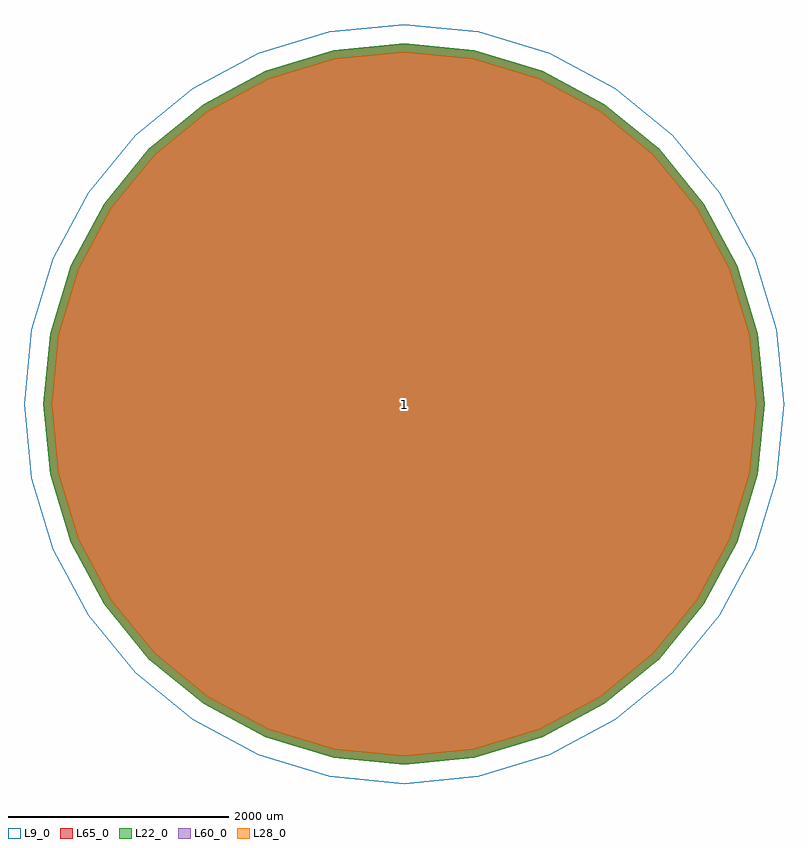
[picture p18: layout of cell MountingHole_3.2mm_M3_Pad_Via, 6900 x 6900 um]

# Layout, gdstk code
import gdstk
lib = gdstk.Library(unit=1e-6, precision=1e-09)
def P(c, l, *ps):  # polygons
    for p in ps: c.add(gdstk.Polygon(p, *l))
L9_0 = (9, 0)
L22_0 = (22, 0)
L28_0 = (28, 0)
L60_0 = (60, 0)
L65_0 = (65, 0)

mountinghole_3_2mm_m3_pa = lib.new_cell('MountingHole_3.2mm_M3_Pad_Via')
P(mountinghole_3_2mm_m3_pa, L9_0, [(3450,0),(3383.709,673.062),(3187.384,1320.258),(2868.57,1916.717),(2439.518,2439.518),(1916.717,2868.57),(1320.258,3187.384),(673.062,3383.709),(0,3450),(-673.062,3383.709),(-1320.258,3187.384),(-1916.717,2868.57),(-2439.518,2439.518),(-2868.57,1916.717),(-3187.384,1320.258),(-3383.709,673.062),(-3450,0),(-3383.709,-673.062),(-3187.384,-1320.258),(-2868.57,-1916.717),(-2439.518,-2439.518),(-1916.717,-2868.57),(-1320.258,-3187.384),(-673.062,-3383.709),(0,-3450),(673.062,-3383.709),(1320.258,-3187.384),(1916.717,-2868.57),(2439.518,-2439.518),(2868.57,-1916.717),(3187.384,-1320.258),(3383.709,-673.062)],
  [(3200,0),(3138.513,624.289),(2956.415,1224.587),(2660.703,1777.825),(2262.742,2262.742),(1777.825,2660.703),(1224.587,2956.415),(624.289,3138.513),(0,3200),(-624.289,3138.513),(-1224.587,2956.415),(-1777.825,2660.703),(-2262.742,2262.742),(-2660.703,1777.825),(-2956.415,1224.587),(-3138.513,624.289),(-3200,0),(-3138.513,-624.289),(-2956.415,-1224.587),(-2660.703,-1777.825),(-2262.742,-2262.742),(-1777.825,-2660.703),(-1224.587,-2956.415),(-624.289,-3138.513),(0,-3200),(624.289,-3138.513),(1224.587,-2956.415),(1777.825,-2660.703),(2262.742,-2262.742),(2660.703,-1777.825),(2956.415,-1224.587),(3138.513,-624.289)])
P(mountinghole_3_2mm_m3_pa, L22_0, [(2072.056,1697.056),(2064.85,1770.215),(2043.511,1840.562),(2008.857,1905.395),(1962.221,1962.221),(1905.395,2008.857),(1840.562,2043.511),(1770.215,2064.85),(1697.056,2072.056),(1623.897,2064.85),(1553.55,2043.511),(1488.717,2008.857),(1431.891,1962.221),(1385.255,1905.395),(1350.601,1840.562),(1329.262,1770.215),(1322.056,1697.056),(1329.262,1623.897),(1350.601,1553.55),(1385.255,1488.717),(1431.891,1431.891),(1488.717,1385.255),(1553.55,1350.601),(1623.897,1329.262),(1697.056,1322.056),(1770.215,1329.262),(1840.562,1350.601),(1905.395,1385.255),(1962.221,1431.891),(2008.857,1488.717),(2043.511,1553.55),(2064.85,1623.897)],
  [(375,2400),(367.794,2473.159),(346.455,2543.506),(311.801,2608.339),(265.165,2665.165),(208.339,2711.801),(143.506,2746.455),(73.159,2767.794),(0,2775),(-73.159,2767.794),(-143.506,2746.455),(-208.339,2711.801),(-265.165,2665.165),(-311.801,2608.339),(-346.455,2543.506),(-367.794,2473.159),(-375,2400),(-367.794,2326.841),(-346.455,2256.494),(-311.801,2191.661),(-265.165,2134.835),(-208.339,2088.199),(-143.506,2053.545),(-73.159,2032.206),(0,2025),(73.159,2032.206),(143.506,2053.545),(208.339,2088.199),(265.165,2134.835),(311.801,2191.661),(346.455,2256.494),(367.794,2326.841)],
  [(-1322.056,1697.056),(-1329.262,1770.215),(-1350.601,1840.562),(-1385.255,1905.395),(-1431.891,1962.221),(-1488.717,2008.857),(-1553.55,2043.511),(-1623.897,2064.85),(-1697.056,2072.056),(-1770.215,2064.85),(-1840.562,2043.511),(-1905.395,2008.857),(-1962.221,1962.221),(-2008.857,1905.395),(-2043.511,1840.562),(-2064.85,1770.215),(-2072.056,1697.056),(-2064.85,1623.897),(-2043.511,1553.55),(-2008.857,1488.717),(-1962.221,1431.891),(-1905.395,1385.255),(-1840.562,1350.601),(-1770.215,1329.262),(-1697.056,1322.056),(-1623.897,1329.262),(-1553.55,1350.601),(-1488.717,1385.255),(-1431.891,1431.891),(-1385.255,1488.717),(-1350.601,1553.55),(-1329.262,1623.897)],
  [(-2025,0),(-2032.206,73.159),(-2053.545,143.506),(-2088.199,208.339),(-2134.835,265.165),(-2191.661,311.801),(-2256.494,346.455),(-2326.841,367.794),(-2400,375),(-2473.159,367.794),(-2543.506,346.455),(-2608.339,311.801),(-2665.165,265.165),(-2711.801,208.339),(-2746.455,143.506),(-2767.794,73.159),(-2775,0),(-2767.794,-73.159),(-2746.455,-143.506),(-2711.801,-208.339),(-2665.165,-265.165),(-2608.339,-311.801),(-2543.506,-346.455),(-2473.159,-367.794),(-2400,-375),(-2326.841,-367.794),(-2256.494,-346.455),(-2191.661,-311.801),(-2134.835,-265.165),(-2088.199,-208.339),(-2053.545,-143.506),(-2032.206,-73.159)],
  [(-1322.056,-1697.056),(-1329.262,-1623.897),(-1350.601,-1553.55),(-1385.255,-1488.717),(-1431.891,-1431.891),(-1488.717,-1385.255),(-1553.55,-1350.601),(-1623.897,-1329.262),(-1697.056,-1322.056),(-1770.215,-1329.262),(-1840.562,-1350.601),(-1905.395,-1385.255),(-1962.221,-1431.891),(-2008.857,-1488.717),(-2043.511,-1553.55),(-2064.85,-1623.897),(-2072.056,-1697.056),(-2064.85,-1770.215),(-2043.511,-1840.562),(-2008.857,-1905.395),(-1962.221,-1962.221),(-1905.395,-2008.857),(-1840.562,-2043.511),(-1770.215,-2064.85),(-1697.056,-2072.056),(-1623.897,-2064.85),(-1553.55,-2043.511),(-1488.717,-2008.857),(-1431.891,-1962.221),(-1385.255,-1905.395),(-1350.601,-1840.562),(-1329.262,-1770.215)],
  [(375,-2400),(367.794,-2326.841),(346.455,-2256.494),(311.801,-2191.661),(265.165,-2134.835),(208.339,-2088.199),(143.506,-2053.545),(73.159,-2032.206),(0,-2025),(-73.159,-2032.206),(-143.506,-2053.545),(-208.339,-2088.199),(-265.165,-2134.835),(-311.801,-2191.661),(-346.455,-2256.494),(-367.794,-2326.841),(-375,-2400),(-367.794,-2473.159),(-346.455,-2543.506),(-311.801,-2608.339),(-265.165,-2665.165),(-208.339,-2711.801),(-143.506,-2746.455),(-73.159,-2767.794),(0,-2775),(73.159,-2767.794),(143.506,-2746.455),(208.339,-2711.801),(265.165,-2665.165),(311.801,-2608.339),(346.455,-2543.506),(367.794,-2473.159)],
  [(2072.056,-1697.056),(2064.85,-1623.897),(2043.511,-1553.55),(2008.857,-1488.717),(1962.221,-1431.891),(1905.395,-1385.255),(1840.562,-1350.601),(1770.215,-1329.262),(1697.056,-1322.056),(1623.897,-1329.262),(1553.55,-1350.601),(1488.717,-1385.255),(1431.891,-1431.891),(1385.255,-1488.717),(1350.601,-1553.55),(1329.262,-1623.897),(1322.056,-1697.056),(1329.262,-1770.215),(1350.601,-1840.562),(1385.255,-1905.395),(1431.891,-1962.221),(1488.717,-2008.857),(1553.55,-2043.511),(1623.897,-2064.85),(1697.056,-2072.056),(1770.215,-2064.85),(1840.562,-2043.511),(1905.395,-2008.857),(1962.221,-1962.221),(2008.857,-1905.395),(2043.511,-1840.562),(2064.85,-1770.215)],
  [(2775,0),(2767.794,73.159),(2746.455,143.506),(2711.801,208.339),(2665.165,265.165),(2608.339,311.801),(2543.506,346.455),(2473.159,367.794),(2400,375),(2326.841,367.794),(2256.494,346.455),(2191.661,311.801),(2134.835,265.165),(2088.199,208.339),(2053.545,143.506),(2032.206,73.159),(2025,0),(2032.206,-73.159),(2053.545,-143.506),(2088.199,-208.339),(2134.835,-265.165),(2191.661,-311.801),(2256.494,-346.455),(2326.841,-367.794),(2400,-375),(2473.159,-367.794),(2543.506,-346.455),(2608.339,-311.801),(2665.165,-265.165),(2711.801,-208.339),(2746.455,-143.506),(2767.794,-73.159)],
  [(3275,0),(3212.072,638.921),(3025.705,1253.288),(2723.063,1819.493),(2315.775,2315.775),(1819.493,2723.063),(1253.288,3025.705),(638.921,3212.072),(0,3275),(-638.921,3212.072),(-1253.288,3025.705),(-1819.493,2723.063),(-2315.775,2315.775),(-2723.063,1819.493),(-3025.705,1253.288),(-3212.072,638.921),(-3275,0),(-3212.072,-638.921),(-3025.705,-1253.288),(-2723.063,-1819.493),(-2315.775,-2315.775),(-1819.493,-2723.063),(-1253.288,-3025.705),(-638.921,-3212.072),(0,-3275),(638.921,-3212.072),(1253.288,-3025.705),(1819.493,-2723.063),(2315.775,-2315.775),(2723.063,-1819.493),(3025.705,-1253.288),(3212.072,-638.921)])
P(mountinghole_3_2mm_m3_pa, L28_0, [(1997.056,1697.056),(1991.292,1755.583),(1974.22,1811.861),(1946.497,1863.727),(1909.188,1909.188),(1863.727,1946.497),(1811.861,1974.22),(1755.583,1991.292),(1697.056,1997.056),(1638.529,1991.292),(1582.251,1974.22),(1530.385,1946.497),(1484.924,1909.188),(1447.615,1863.727),(1419.892,1811.861),(1402.82,1755.583),(1397.056,1697.056),(1402.82,1638.529),(1419.892,1582.251),(1447.615,1530.385),(1484.924,1484.924),(1530.385,1447.615),(1582.251,1419.892),(1638.529,1402.82),(1697.056,1397.056),(1755.583,1402.82),(1811.861,1419.892),(1863.727,1447.615),(1909.188,1484.924),(1946.497,1530.385),(1974.22,1582.251),(1991.292,1638.529)],
  [(300,2400),(294.236,2458.527),(277.164,2514.805),(249.441,2566.671),(212.132,2612.132),(166.671,2649.441),(114.805,2677.164),(58.527,2694.236),(0,2700),(-58.527,2694.236),(-114.805,2677.164),(-166.671,2649.441),(-212.132,2612.132),(-249.441,2566.671),(-277.164,2514.805),(-294.236,2458.527),(-300,2400),(-294.236,2341.473),(-277.164,2285.195),(-249.441,2233.329),(-212.132,2187.868),(-166.671,2150.559),(-114.805,2122.836),(-58.527,2105.764),(0,2100),(58.527,2105.764),(114.805,2122.836),(166.671,2150.559),(212.132,2187.868),(249.441,2233.329),(277.164,2285.195),(294.236,2341.473)],
  [(-1397.056,1697.056),(-1402.82,1755.583),(-1419.892,1811.861),(-1447.615,1863.727),(-1484.924,1909.188),(-1530.385,1946.497),(-1582.251,1974.22),(-1638.529,1991.292),(-1697.056,1997.056),(-1755.583,1991.292),(-1811.861,1974.22),(-1863.727,1946.497),(-1909.188,1909.188),(-1946.497,1863.727),(-1974.22,1811.861),(-1991.292,1755.583),(-1997.056,1697.056),(-1991.292,1638.529),(-1974.22,1582.251),(-1946.497,1530.385),(-1909.188,1484.924),(-1863.727,1447.615),(-1811.861,1419.892),(-1755.583,1402.82),(-1697.056,1397.056),(-1638.529,1402.82),(-1582.251,1419.892),(-1530.385,1447.615),(-1484.924,1484.924),(-1447.615,1530.385),(-1419.892,1582.251),(-1402.82,1638.529)],
  [(-2100,0),(-2105.764,58.527),(-2122.836,114.805),(-2150.559,166.671),(-2187.868,212.132),(-2233.329,249.441),(-2285.195,277.164),(-2341.473,294.236),(-2400,300),(-2458.527,294.236),(-2514.805,277.164),(-2566.671,249.441),(-2612.132,212.132),(-2649.441,166.671),(-2677.164,114.805),(-2694.236,58.527),(-2700,0),(-2694.236,-58.527),(-2677.164,-114.805),(-2649.441,-166.671),(-2612.132,-212.132),(-2566.671,-249.441),(-2514.805,-277.164),(-2458.527,-294.236),(-2400,-300),(-2341.473,-294.236),(-2285.195,-277.164),(-2233.329,-249.441),(-2187.868,-212.132),(-2150.559,-166.671),(-2122.836,-114.805),(-2105.764,-58.527)],
  [(-1397.056,-1697.056),(-1402.82,-1638.529),(-1419.892,-1582.251),(-1447.615,-1530.385),(-1484.924,-1484.924),(-1530.385,-1447.615),(-1582.251,-1419.892),(-1638.529,-1402.82),(-1697.056,-1397.056),(-1755.583,-1402.82),(-1811.861,-1419.892),(-1863.727,-1447.615),(-1909.188,-1484.924),(-1946.497,-1530.385),(-1974.22,-1582.251),(-1991.292,-1638.529),(-1997.056,-1697.056),(-1991.292,-1755.583),(-1974.22,-1811.861),(-1946.497,-1863.727),(-1909.188,-1909.188),(-1863.727,-1946.497),(-1811.861,-1974.22),(-1755.583,-1991.292),(-1697.056,-1997.056),(-1638.529,-1991.292),(-1582.251,-1974.22),(-1530.385,-1946.497),(-1484.924,-1909.188),(-1447.615,-1863.727),(-1419.892,-1811.861),(-1402.82,-1755.583)],
  [(300,-2400),(294.236,-2341.473),(277.164,-2285.195),(249.441,-2233.329),(212.132,-2187.868),(166.671,-2150.559),(114.805,-2122.836),(58.527,-2105.764),(0,-2100),(-58.527,-2105.764),(-114.805,-2122.836),(-166.671,-2150.559),(-212.132,-2187.868),(-249.441,-2233.329),(-277.164,-2285.195),(-294.236,-2341.473),(-300,-2400),(-294.236,-2458.527),(-277.164,-2514.805),(-249.441,-2566.671),(-212.132,-2612.132),(-166.671,-2649.441),(-114.805,-2677.164),(-58.527,-2694.236),(0,-2700),(58.527,-2694.236),(114.805,-2677.164),(166.671,-2649.441),(212.132,-2612.132),(249.441,-2566.671),(277.164,-2514.805),(294.236,-2458.527)],
  [(1997.056,-1697.056),(1991.292,-1638.529),(1974.22,-1582.251),(1946.497,-1530.385),(1909.188,-1484.924),(1863.727,-1447.615),(1811.861,-1419.892),(1755.583,-1402.82),(1697.056,-1397.056),(1638.529,-1402.82),(1582.251,-1419.892),(1530.385,-1447.615),(1484.924,-1484.924),(1447.615,-1530.385),(1419.892,-1582.251),(1402.82,-1638.529),(1397.056,-1697.056),(1402.82,-1755.583),(1419.892,-1811.861),(1447.615,-1863.727),(1484.924,-1909.188),(1530.385,-1946.497),(1582.251,-1974.22),(1638.529,-1991.292),(1697.056,-1997.056),(1755.583,-1991.292),(1811.861,-1974.22),(1863.727,-1946.497),(1909.188,-1909.188),(1946.497,-1863.727),(1974.22,-1811.861),(1991.292,-1755.583)],
  [(2700,0),(2694.236,58.527),(2677.164,114.805),(2649.441,166.671),(2612.132,212.132),(2566.671,249.441),(2514.805,277.164),(2458.527,294.236),(2400,300),(2341.473,294.236),(2285.195,277.164),(2233.329,249.441),(2187.868,212.132),(2150.559,166.671),(2122.836,114.805),(2105.764,58.527),(2100,0),(2105.764,-58.527),(2122.836,-114.805),(2150.559,-166.671),(2187.868,-212.132),(2233.329,-249.441),(2285.195,-277.164),(2341.473,-294.236),(2400,-300),(2458.527,-294.236),(2514.805,-277.164),(2566.671,-249.441),(2612.132,-212.132),(2649.441,-166.671),(2677.164,-114.805),(2694.236,-58.527)],
  [(3200,0),(3138.513,624.289),(2956.415,1224.587),(2660.703,1777.825),(2262.742,2262.742),(1777.825,2660.703),(1224.587,2956.415),(624.289,3138.513),(0,3200),(-624.289,3138.513),(-1224.587,2956.415),(-1777.825,2660.703),(-2262.742,2262.742),(-2660.703,1777.825),(-2956.415,1224.587),(-3138.513,624.289),(-3200,0),(-3138.513,-624.289),(-2956.415,-1224.587),(-2660.703,-1777.825),(-2262.742,-2262.742),(-1777.825,-2660.703),(-1224.587,-2956.415),(-624.289,-3138.513),(0,-3200),(624.289,-3138.513),(1224.587,-2956.415),(1777.825,-2660.703),(2262.742,-2262.742),(2660.703,-1777.825),(2956.415,-1224.587),(3138.513,-624.289)])
P(mountinghole_3_2mm_m3_pa, L60_0, [(1997.056,1697.056),(1991.292,1755.583),(1974.22,1811.861),(1946.497,1863.727),(1909.188,1909.188),(1863.727,1946.497),(1811.861,1974.22),(1755.583,1991.292),(1697.056,1997.056),(1638.529,1991.292),(1582.251,1974.22),(1530.385,1946.497),(1484.924,1909.188),(1447.615,1863.727),(1419.892,1811.861),(1402.82,1755.583),(1397.056,1697.056),(1402.82,1638.529),(1419.892,1582.251),(1447.615,1530.385),(1484.924,1484.924),(1530.385,1447.615),(1582.251,1419.892),(1638.529,1402.82),(1697.056,1397.056),(1755.583,1402.82),(1811.861,1419.892),(1863.727,1447.615),(1909.188,1484.924),(1946.497,1530.385),(1974.22,1582.251),(1991.292,1638.529)],
  [(300,2400),(294.236,2458.527),(277.164,2514.805),(249.441,2566.671),(212.132,2612.132),(166.671,2649.441),(114.805,2677.164),(58.527,2694.236),(0,2700),(-58.527,2694.236),(-114.805,2677.164),(-166.671,2649.441),(-212.132,2612.132),(-249.441,2566.671),(-277.164,2514.805),(-294.236,2458.527),(-300,2400),(-294.236,2341.473),(-277.164,2285.195),(-249.441,2233.329),(-212.132,2187.868),(-166.671,2150.559),(-114.805,2122.836),(-58.527,2105.764),(0,2100),(58.527,2105.764),(114.805,2122.836),(166.671,2150.559),(212.132,2187.868),(249.441,2233.329),(277.164,2285.195),(294.236,2341.473)],
  [(-1397.056,1697.056),(-1402.82,1755.583),(-1419.892,1811.861),(-1447.615,1863.727),(-1484.924,1909.188),(-1530.385,1946.497),(-1582.251,1974.22),(-1638.529,1991.292),(-1697.056,1997.056),(-1755.583,1991.292),(-1811.861,1974.22),(-1863.727,1946.497),(-1909.188,1909.188),(-1946.497,1863.727),(-1974.22,1811.861),(-1991.292,1755.583),(-1997.056,1697.056),(-1991.292,1638.529),(-1974.22,1582.251),(-1946.497,1530.385),(-1909.188,1484.924),(-1863.727,1447.615),(-1811.861,1419.892),(-1755.583,1402.82),(-1697.056,1397.056),(-1638.529,1402.82),(-1582.251,1419.892),(-1530.385,1447.615),(-1484.924,1484.924),(-1447.615,1530.385),(-1419.892,1582.251),(-1402.82,1638.529)],
  [(-2100,0),(-2105.764,58.527),(-2122.836,114.805),(-2150.559,166.671),(-2187.868,212.132),(-2233.329,249.441),(-2285.195,277.164),(-2341.473,294.236),(-2400,300),(-2458.527,294.236),(-2514.805,277.164),(-2566.671,249.441),(-2612.132,212.132),(-2649.441,166.671),(-2677.164,114.805),(-2694.236,58.527),(-2700,0),(-2694.236,-58.527),(-2677.164,-114.805),(-2649.441,-166.671),(-2612.132,-212.132),(-2566.671,-249.441),(-2514.805,-277.164),(-2458.527,-294.236),(-2400,-300),(-2341.473,-294.236),(-2285.195,-277.164),(-2233.329,-249.441),(-2187.868,-212.132),(-2150.559,-166.671),(-2122.836,-114.805),(-2105.764,-58.527)],
  [(-1397.056,-1697.056),(-1402.82,-1638.529),(-1419.892,-1582.251),(-1447.615,-1530.385),(-1484.924,-1484.924),(-1530.385,-1447.615),(-1582.251,-1419.892),(-1638.529,-1402.82),(-1697.056,-1397.056),(-1755.583,-1402.82),(-1811.861,-1419.892),(-1863.727,-1447.615),(-1909.188,-1484.924),(-1946.497,-1530.385),(-1974.22,-1582.251),(-1991.292,-1638.529),(-1997.056,-1697.056),(-1991.292,-1755.583),(-1974.22,-1811.861),(-1946.497,-1863.727),(-1909.188,-1909.188),(-1863.727,-1946.497),(-1811.861,-1974.22),(-1755.583,-1991.292),(-1697.056,-1997.056),(-1638.529,-1991.292),(-1582.251,-1974.22),(-1530.385,-1946.497),(-1484.924,-1909.188),(-1447.615,-1863.727),(-1419.892,-1811.861),(-1402.82,-1755.583)],
  [(300,-2400),(294.236,-2341.473),(277.164,-2285.195),(249.441,-2233.329),(212.132,-2187.868),(166.671,-2150.559),(114.805,-2122.836),(58.527,-2105.764),(0,-2100),(-58.527,-2105.764),(-114.805,-2122.836),(-166.671,-2150.559),(-212.132,-2187.868),(-249.441,-2233.329),(-277.164,-2285.195),(-294.236,-2341.473),(-300,-2400),(-294.236,-2458.527),(-277.164,-2514.805),(-249.441,-2566.671),(-212.132,-2612.132),(-166.671,-2649.441),(-114.805,-2677.164),(-58.527,-2694.236),(0,-2700),(58.527,-2694.236),(114.805,-2677.164),(166.671,-2649.441),(212.132,-2612.132),(249.441,-2566.671),(277.164,-2514.805),(294.236,-2458.527)],
  [(1997.056,-1697.056),(1991.292,-1638.529),(1974.22,-1582.251),(1946.497,-1530.385),(1909.188,-1484.924),(1863.727,-1447.615),(1811.861,-1419.892),(1755.583,-1402.82),(1697.056,-1397.056),(1638.529,-1402.82),(1582.251,-1419.892),(1530.385,-1447.615),(1484.924,-1484.924),(1447.615,-1530.385),(1419.892,-1582.251),(1402.82,-1638.529),(1397.056,-1697.056),(1402.82,-1755.583),(1419.892,-1811.861),(1447.615,-1863.727),(1484.924,-1909.188),(1530.385,-1946.497),(1582.251,-1974.22),(1638.529,-1991.292),(1697.056,-1997.056),(1755.583,-1991.292),(1811.861,-1974.22),(1863.727,-1946.497),(1909.188,-1909.188),(1946.497,-1863.727),(1974.22,-1811.861),(1991.292,-1755.583)],
  [(2700,0),(2694.236,58.527),(2677.164,114.805),(2649.441,166.671),(2612.132,212.132),(2566.671,249.441),(2514.805,277.164),(2458.527,294.236),(2400,300),(2341.473,294.236),(2285.195,277.164),(2233.329,249.441),(2187.868,212.132),(2150.559,166.671),(2122.836,114.805),(2105.764,58.527),(2100,0),(2105.764,-58.527),(2122.836,-114.805),(2150.559,-166.671),(2187.868,-212.132),(2233.329,-249.441),(2285.195,-277.164),(2341.473,-294.236),(2400,-300),(2458.527,-294.236),(2514.805,-277.164),(2566.671,-249.441),(2612.132,-212.132),(2649.441,-166.671),(2677.164,-114.805),(2694.236,-58.527)],
  [(3200,0),(3138.513,624.289),(2956.415,1224.587),(2660.703,1777.825),(2262.742,2262.742),(1777.825,2660.703),(1224.587,2956.415),(624.289,3138.513),(0,3200),(-624.289,3138.513),(-1224.587,2956.415),(-1777.825,2660.703),(-2262.742,2262.742),(-2660.703,1777.825),(-2956.415,1224.587),(-3138.513,624.289),(-3200,0),(-3138.513,-624.289),(-2956.415,-1224.587),(-2660.703,-1777.825),(-2262.742,-2262.742),(-1777.825,-2660.703),(-1224.587,-2956.415),(-624.289,-3138.513),(0,-3200),(624.289,-3138.513),(1224.587,-2956.415),(1777.825,-2660.703),(2262.742,-2262.742),(2660.703,-1777.825),(2956.415,-1224.587),(3138.513,-624.289)])
P(mountinghole_3_2mm_m3_pa, L65_0, [(2072.056,1697.056),(2064.85,1770.215),(2043.511,1840.562),(2008.857,1905.395),(1962.221,1962.221),(1905.395,2008.857),(1840.562,2043.511),(1770.215,2064.85),(1697.056,2072.056),(1623.897,2064.85),(1553.55,2043.511),(1488.717,2008.857),(1431.891,1962.221),(1385.255,1905.395),(1350.601,1840.562),(1329.262,1770.215),(1322.056,1697.056),(1329.262,1623.897),(1350.601,1553.55),(1385.255,1488.717),(1431.891,1431.891),(1488.717,1385.255),(1553.55,1350.601),(1623.897,1329.262),(1697.056,1322.056),(1770.215,1329.262),(1840.562,1350.601),(1905.395,1385.255),(1962.221,1431.891),(2008.857,1488.717),(2043.511,1553.55),(2064.85,1623.897)],
  [(375,2400),(367.794,2473.159),(346.455,2543.506),(311.801,2608.339),(265.165,2665.165),(208.339,2711.801),(143.506,2746.455),(73.159,2767.794),(0,2775),(-73.159,2767.794),(-143.506,2746.455),(-208.339,2711.801),(-265.165,2665.165),(-311.801,2608.339),(-346.455,2543.506),(-367.794,2473.159),(-375,2400),(-367.794,2326.841),(-346.455,2256.494),(-311.801,2191.661),(-265.165,2134.835),(-208.339,2088.199),(-143.506,2053.545),(-73.159,2032.206),(0,2025),(73.159,2032.206),(143.506,2053.545),(208.339,2088.199),(265.165,2134.835),(311.801,2191.661),(346.455,2256.494),(367.794,2326.841)],
  [(-1322.056,1697.056),(-1329.262,1770.215),(-1350.601,1840.562),(-1385.255,1905.395),(-1431.891,1962.221),(-1488.717,2008.857),(-1553.55,2043.511),(-1623.897,2064.85),(-1697.056,2072.056),(-1770.215,2064.85),(-1840.562,2043.511),(-1905.395,2008.857),(-1962.221,1962.221),(-2008.857,1905.395),(-2043.511,1840.562),(-2064.85,1770.215),(-2072.056,1697.056),(-2064.85,1623.897),(-2043.511,1553.55),(-2008.857,1488.717),(-1962.221,1431.891),(-1905.395,1385.255),(-1840.562,1350.601),(-1770.215,1329.262),(-1697.056,1322.056),(-1623.897,1329.262),(-1553.55,1350.601),(-1488.717,1385.255),(-1431.891,1431.891),(-1385.255,1488.717),(-1350.601,1553.55),(-1329.262,1623.897)],
  [(-2025,0),(-2032.206,73.159),(-2053.545,143.506),(-2088.199,208.339),(-2134.835,265.165),(-2191.661,311.801),(-2256.494,346.455),(-2326.841,367.794),(-2400,375),(-2473.159,367.794),(-2543.506,346.455),(-2608.339,311.801),(-2665.165,265.165),(-2711.801,208.339),(-2746.455,143.506),(-2767.794,73.159),(-2775,0),(-2767.794,-73.159),(-2746.455,-143.506),(-2711.801,-208.339),(-2665.165,-265.165),(-2608.339,-311.801),(-2543.506,-346.455),(-2473.159,-367.794),(-2400,-375),(-2326.841,-367.794),(-2256.494,-346.455),(-2191.661,-311.801),(-2134.835,-265.165),(-2088.199,-208.339),(-2053.545,-143.506),(-2032.206,-73.159)],
  [(-1322.056,-1697.056),(-1329.262,-1623.897),(-1350.601,-1553.55),(-1385.255,-1488.717),(-1431.891,-1431.891),(-1488.717,-1385.255),(-1553.55,-1350.601),(-1623.897,-1329.262),(-1697.056,-1322.056),(-1770.215,-1329.262),(-1840.562,-1350.601),(-1905.395,-1385.255),(-1962.221,-1431.891),(-2008.857,-1488.717),(-2043.511,-1553.55),(-2064.85,-1623.897),(-2072.056,-1697.056),(-2064.85,-1770.215),(-2043.511,-1840.562),(-2008.857,-1905.395),(-1962.221,-1962.221),(-1905.395,-2008.857),(-1840.562,-2043.511),(-1770.215,-2064.85),(-1697.056,-2072.056),(-1623.897,-2064.85),(-1553.55,-2043.511),(-1488.717,-2008.857),(-1431.891,-1962.221),(-1385.255,-1905.395),(-1350.601,-1840.562),(-1329.262,-1770.215)],
  [(375,-2400),(367.794,-2326.841),(346.455,-2256.494),(311.801,-2191.661),(265.165,-2134.835),(208.339,-2088.199),(143.506,-2053.545),(73.159,-2032.206),(0,-2025),(-73.159,-2032.206),(-143.506,-2053.545),(-208.339,-2088.199),(-265.165,-2134.835),(-311.801,-2191.661),(-346.455,-2256.494),(-367.794,-2326.841),(-375,-2400),(-367.794,-2473.159),(-346.455,-2543.506),(-311.801,-2608.339),(-265.165,-2665.165),(-208.339,-2711.801),(-143.506,-2746.455),(-73.159,-2767.794),(0,-2775),(73.159,-2767.794),(143.506,-2746.455),(208.339,-2711.801),(265.165,-2665.165),(311.801,-2608.339),(346.455,-2543.506),(367.794,-2473.159)],
  [(2072.056,-1697.056),(2064.85,-1623.897),(2043.511,-1553.55),(2008.857,-1488.717),(1962.221,-1431.891),(1905.395,-1385.255),(1840.562,-1350.601),(1770.215,-1329.262),(1697.056,-1322.056),(1623.897,-1329.262),(1553.55,-1350.601),(1488.717,-1385.255),(1431.891,-1431.891),(1385.255,-1488.717),(1350.601,-1553.55),(1329.262,-1623.897),(1322.056,-1697.056),(1329.262,-1770.215),(1350.601,-1840.562),(1385.255,-1905.395),(1431.891,-1962.221),(1488.717,-2008.857),(1553.55,-2043.511),(1623.897,-2064.85),(1697.056,-2072.056),(1770.215,-2064.85),(1840.562,-2043.511),(1905.395,-2008.857),(1962.221,-1962.221),(2008.857,-1905.395),(2043.511,-1840.562),(2064.85,-1770.215)],
  [(2775,0),(2767.794,73.159),(2746.455,143.506),(2711.801,208.339),(2665.165,265.165),(2608.339,311.801),(2543.506,346.455),(2473.159,367.794),(2400,375),(2326.841,367.794),(2256.494,346.455),(2191.661,311.801),(2134.835,265.165),(2088.199,208.339),(2053.545,143.506),(2032.206,73.159),(2025,0),(2032.206,-73.159),(2053.545,-143.506),(2088.199,-208.339),(2134.835,-265.165),(2191.661,-311.801),(2256.494,-346.455),(2326.841,-367.794),(2400,-375),(2473.159,-367.794),(2543.506,-346.455),(2608.339,-311.801),(2665.165,-265.165),(2711.801,-208.339),(2746.455,-143.506),(2767.794,-73.159)],
  [(3275,0),(3212.072,638.921),(3025.705,1253.288),(2723.063,1819.493),(2315.775,2315.775),(1819.493,2723.063),(1253.288,3025.705),(638.921,3212.072),(0,3275),(-638.921,3212.072),(-1253.288,3025.705),(-1819.493,2723.063),(-2315.775,2315.775),(-2723.063,1819.493),(-3025.705,1253.288),(-3212.072,638.921),(-3275,0),(-3212.072,-638.921),(-3025.705,-1253.288),(-2723.063,-1819.493),(-2315.775,-2315.775),(-1819.493,-2723.063),(-1253.288,-3025.705),(-638.921,-3212.072),(0,-3275),(638.921,-3212.072),(1253.288,-3025.705),(1819.493,-2723.063),(2315.775,-2315.775),(2723.063,-1819.493),(3025.705,-1253.288),(3212.072,-638.921)])
mountinghole_3_2mm_m3_pa.add(gdstk.Label('1', (0,0), layer=28, texttype=0))
mountinghole_3_2mm_m3_pa.add(gdstk.Label('type', (0,-4200), layer=9, texttype=0))
mountinghole_3_2mm_m3_pa.add(gdstk.Label('devicename', (0,4200), layer=9, texttype=0))

lib.write_gds('MountingHole_3.2mm_M3_Pad_Via.gds')
